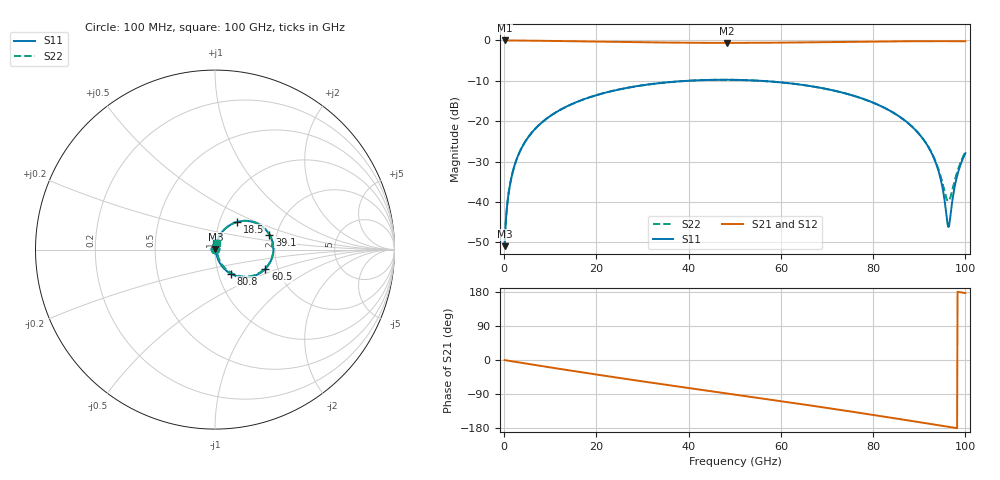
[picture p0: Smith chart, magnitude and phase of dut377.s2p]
! Touchstone file exported from HFSS 2026.1.0
!  File:  C:/ffzhzh/LocalFiles/Ansys_Project_Files/temp_train_RDL_377_1783503642_44152.aedt
!  Generated:  05:42:05 PM Jul  8, 2026
!  Design:  RDL
!  Project:  temp_train_RDL_377_1783503642_44152
! Variables:
!  h_bsmrdl = 2um
!  h_ox = 20um
!  h_rdl = 5um
!  h_sub = 80um
!  h_tmrdl = 3.7um
!  h_tsv = 80um
!  h_via = 3um
!  l_bsmrdl = 300um
!  l_sub = 1024.9um
!  l_tmrdl = 624.9um
!  m_sub = 200um
!  pitch = 42.89um
!  r_tsv = 6um
!  s_tmrdl = 10um
!  w_bsmrdl = 18um
!  w_sub = 500um
!  w_tmrdl = 28.95um
!  x_tsv_center1 = 639.375um
!  x_tsv_center2 = 957.375um
!  x_tsv_center3 = 1611.225um
!  x_tsv_center4 = 1929.225um
!  x_tsv_center5 = 2583.075um
!  x_tsv_center6 = 2901.075um
# GHz S MA R 50.000000
! Terminal data exported
! Port[1] = TM_RDL1_1_T1
! Port[2] = TM_RDL1_1_T2
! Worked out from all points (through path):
!   1000 points, 100 MHz to 100 GHz, reference 50 ohm
!   highest |S21| = -0.02 dB at 100 MHz (marker M1); lowest = -0.6 dB at 48.3 GHz (marker M2)
!   group delay of S21, straight-line fit = 5 ps
!   lowest |S11| = -50.9 dB at 100 MHz (marker M3), VSWR 1.01, Z = 50.2 + j0.159 ohm
!   |S11| at or under -10 dB: start of sweep to 39.78 GHz; 55.48 GHz to end of sweep
!   |S22| runs from -50.9 to -9.7 dB; largest |S21 - S12| = 1.7e-14
!   S11 on the Smith chart (normalised r, x): 100 MHz: 1.00, +0.00; 18.5 GHz: 1.21, +0.39; 39.1 GHz: 1.83, +0.34; 60.5 GHz: 1.72, -0.41; 80.8 GHz: 1.15, -0.32; 100 GHz: 1.01, +0.08
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0.1  0.00284 33.9  0.9976 -0.2  0.9976 -0.2  0.00284 33.9
! Gamma 0 0 0 0
! Port Impedance 50 0 50 0
0.9  0.012 72.3  0.9966 -1.8  0.9966 -1.8  0.012 72.3
1.6  0.02039 76.7  0.9962 -3.2  0.9962 -3.2  0.02039 76.7
4.2  0.05154 76.1  0.9937 -8.3  0.9937 -8.3  0.05154 76.2
9.1  0.1064 67.9  0.9865 -17.8  0.9865 -17.8  0.1064 68.0
16.8  0.1824 54.3  0.9726 -32.4  0.9726 -32.4  0.1824 54.4
18.5  0.1974 51.2  0.9693 -35.6  0.9693 -35.6  0.1973 51.4
33.4  0.2947 25.2  0.9424 -62.4  0.9424 -62.4  0.2946 25.6
39.1  0.3145 15.5  0.9357 -72.4  0.9357 -72.4  0.3144 15.9
48.3  0.3256 -0.1  0.9313 -88.3  0.9313 -88.3  0.3254 0.5
50.1  0.3247 -3.2  0.9315 -91.4  0.9315 -91.4  0.3246 -2.5
60.5  0.3003 -20.9  0.9385 -109.5  0.9385 -109.5  0.3001 -20.0
66.7  0.2702 -31.7  0.9465 -120.5  0.9465 -120.5  0.27 -30.6
80.8  0.1621 -56.6  0.9677 -146.5  0.9677 -146.5  0.1619 -54.6
83.4  0.1372 -61.2  0.9709 -151.4  0.9709 -151.4  0.137 -58.8
88.7  0.08289 -69.8  0.9757 -161.5  0.9757 -161.5  0.0829 -65.9
92.3  0.04433 -73.8  0.9773 -168.5  0.9773 -168.5  0.04474 -66.6
94.4  0.02171 -71.1  0.9776 -172.5  0.9776 -172.5  0.02304 -57.4
96.3  0.004911 -2.0  0.9774 -176.2  0.9774 -176.2  0.01025 3.4
96.7  0.006331 40.8  0.9774 -177.0  0.9774 -177.0  0.01121 25.6
98.2  0.02095 75.1  0.9769 -179.9  0.9769 -179.9  0.02327 62.8
100  0.04015 78.1  0.9759 176.6  0.9759 176.6  0.04165 71.3
